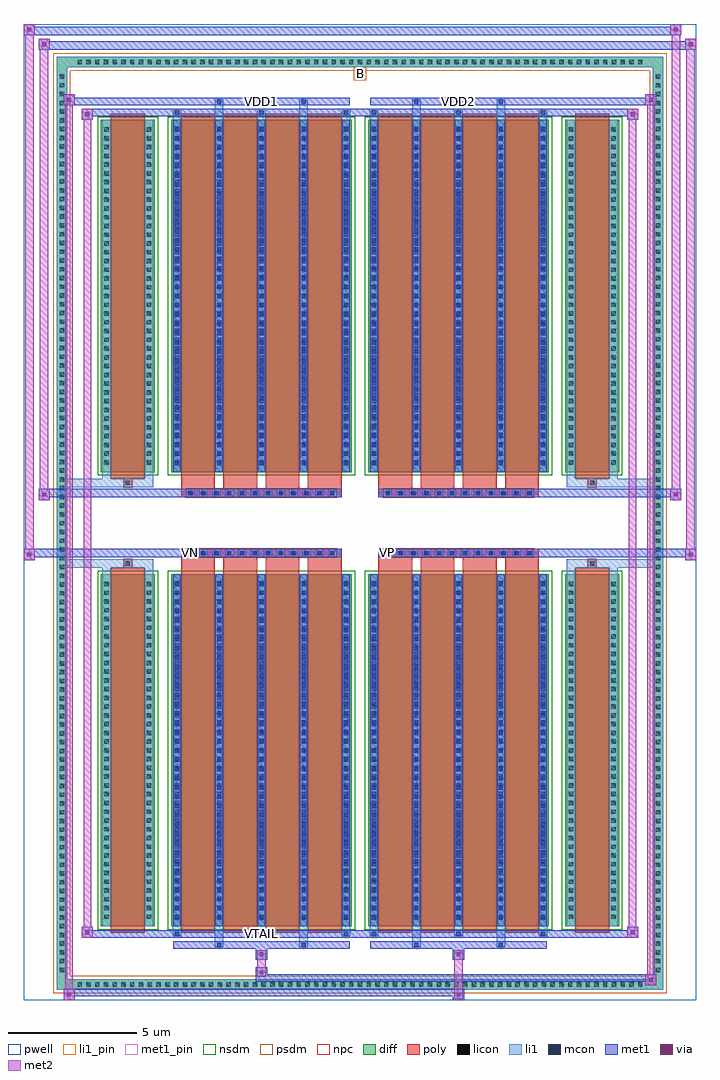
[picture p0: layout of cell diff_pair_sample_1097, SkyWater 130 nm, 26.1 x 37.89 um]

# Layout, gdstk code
import gdstk
lib = gdstk.Library(unit=1e-6, precision=5e-09)
def R(c, l, rs):  # rectangles x0, y0, x1, y1
    for r in rs: c.add(gdstk.rectangle(r[:2], r[2:], *l))
def A(c, l, x, y, w, h, nx, ny, dx, dy):  # array of equal rectangles
    R(c, l, [(x+i*dx, y+j*dy, x+i*dx+w, y+j*dy+h) for i in range(nx) for j in range(ny)])
def P(c, l, *ps):  # polygons
    for p in ps: c.add(gdstk.Polygon(p, *l))
pwell = (64, 44)
diff = (65, 20)
poly = (66, 20)
licon = (66, 44)
li1_pin = (67, 16)
li1 = (67, 20)
mcon = (67, 44)
met1_pin = (68, 16)
met1 = (68, 20)
via = (68, 44)
met2 = (69, 20)
nsdm = (93, 44)
psdm = (94, 20)
npc = (95, 20)

diff_pair_sample_1097 = lib.new_cell('diff_pair_sample_1097')
R(diff_pair_sample_1097, pwell, [(-13.05,-18.51,13.05,19.38), (-10.37,-16.7,-0.01,-0.8), (0.01,-16.7,10.37,-0.8), (-10.37,0.8,-0.01,16.7), (0.01,0.8,10.37,16.7)])
A(diff_pair_sample_1097, diff, -11.085, -18.11, 0.41, 0.41, 65, 2, 0.34, 35.81)
A(diff_pair_sample_1097, diff, -11.78, -17.545, 0.41, 0.41, 1, 103, 0, 0.34)
A(diff_pair_sample_1097, diff, 11.37, -17.545, 0.41, 0.41, 1, 103, 0, 0.34)
R(diff_pair_sample_1097, diff, [(-11.085,-18.11,11.085,-17.7), (-11.78,-17.545,-11.37,17.545), (11.37,-17.545,11.78,17.545), (-10.06,-15.655,-7.97,-1.985), (-7.33,-15.655,-0.32,-1.985), (0.32,-15.655,7.33,-1.985), (7.97,-15.655,10.06,-1.985), (-10.06,1.985,-7.97,15.655), (-7.33,1.985,-0.32,15.655), (0.32,1.985,7.33,15.655), (7.97,1.985,10.06,15.655), (-11.085,17.7,11.085,18.11)])
P(diff_pair_sample_1097, diff, [(11.78,18.11),(-11.78,18.11),(-11.78,-17.7),(-11.37,-17.7),(-11.37,17.7),(11.37,17.7),(11.37,-17.7),(-11.37,-17.7),(-11.78,-17.7),(-11.78,-18.11),(11.78,-18.11)])
A(diff_pair_sample_1097, poly, -6.94, -15.905, 1.31, 14.17, 4, 2, 1.64, 17.64)
A(diff_pair_sample_1097, poly, 0.71, -15.905, 1.31, 14.17, 4, 2, 1.64, 17.64)
A(diff_pair_sample_1097, poly, -6.94, -1.735, 1.31, 0.405, 4, 2, 1.64, 3.065)
A(diff_pair_sample_1097, poly, 0.71, -1.735, 1.31, 0.405, 4, 2, 1.64, 3.065)
A(diff_pair_sample_1097, poly, -6.74, -1.33, 0.33, 0.33, 12, 2, 0.5, 2.33)
A(diff_pair_sample_1097, poly, 0.91, -1.33, 0.33, 0.33, 12, 2, 0.5, 2.33)
R(diff_pair_sample_1097, poly, [(-9.67,-15.905,-8.36,-1.735), (8.36,-15.905,9.67,-1.735), (-9.18,-1.735,-8.85,-1.405), (-9.18,-1.735,-8.85,-1.405), (8.85,-1.735,9.18,-1.405), (8.85,-1.735,9.18,-1.405), (-6.94,-1.33,-0.71,-1), (0.71,-1.33,6.94,-1), (-6.94,1,-0.71,1.33), (0.71,1,6.94,1.33), (-9.18,1.405,-8.85,1.735), (-9.18,1.405,-8.85,1.735), (8.85,1.405,9.18,1.735), (8.85,1.405,9.18,1.735), (-9.67,1.735,-8.36,15.905), (8.36,1.735,9.67,15.905)])
A(diff_pair_sample_1097, licon, -10.965, -17.99, 0.17, 0.17, 65, 2, 0.34, 35.81)
A(diff_pair_sample_1097, licon, -11.66, -17.425, 0.17, 0.17, 1, 103, 0, 0.34)
A(diff_pair_sample_1097, licon, 11.49, -17.425, 0.17, 0.17, 1, 103, 0, 0.34)
A(diff_pair_sample_1097, licon, -9.92, -15.365, 0.17, 0.17, 1, 39, 0, 0.34)
A(diff_pair_sample_1097, licon, -8.28, -15.365, 0.17, 0.17, 1, 39, 0, 0.34)
A(diff_pair_sample_1097, licon, -7.19, -15.365, 0.17, 0.17, 5, 39, 1.64, 0.34)
A(diff_pair_sample_1097, licon, 0.46, -15.365, 0.17, 0.17, 5, 39, 1.64, 0.34)
A(diff_pair_sample_1097, licon, 8.11, -15.365, 0.17, 0.17, 1, 39, 0, 0.34)
A(diff_pair_sample_1097, licon, 9.75, -15.365, 0.17, 0.17, 1, 39, 0, 0.34)
A(diff_pair_sample_1097, licon, -6.66, -1.25, 0.17, 0.17, 12, 2, 0.5, 2.33)
A(diff_pair_sample_1097, licon, 0.99, -1.25, 0.17, 0.17, 12, 2, 0.5, 2.33)
A(diff_pair_sample_1097, licon, -9.92, 2.275, 0.17, 0.17, 1, 39, 0, 0.34)
A(diff_pair_sample_1097, licon, -8.28, 2.275, 0.17, 0.17, 1, 39, 0, 0.34)
A(diff_pair_sample_1097, licon, -7.19, 2.275, 0.17, 0.17, 5, 39, 1.64, 0.34)
A(diff_pair_sample_1097, licon, 0.46, 2.275, 0.17, 0.17, 5, 39, 1.64, 0.34)
A(diff_pair_sample_1097, licon, 8.11, 2.275, 0.17, 0.17, 1, 39, 0, 0.34)
A(diff_pair_sample_1097, licon, 9.75, 2.275, 0.17, 0.17, 1, 39, 0, 0.34)
R(diff_pair_sample_1097, licon, [(-9.1,-1.655,-8.93,-1.485), (8.93,-1.655,9.1,-1.485), (-9.1,1.485,-8.93,1.655), (8.93,1.485,9.1,1.655)])
R(diff_pair_sample_1097, li1_pin, [(-0.25,17.2,0.25,17.7)])
A(diff_pair_sample_1097, li1, -11.045, -18.07, 0.33, 0.33, 65, 2, 0.34, 35.81)
A(diff_pair_sample_1097, li1, -11.74, -17.505, 0.33, 0.33, 1, 103, 0, 0.34)
A(diff_pair_sample_1097, li1, 11.41, -17.505, 0.33, 0.33, 1, 103, 0, 0.34)
A(diff_pair_sample_1097, li1, -7.27, -16.03, 0.33, 0.375, 3, 2, 3.28, 31.685)
A(diff_pair_sample_1097, li1, -7.19, -16.03, 0.17, 0.17, 3, 2, 3.28, 31.89)
A(diff_pair_sample_1097, li1, 0.38, -16.03, 0.33, 0.375, 3, 2, 3.28, 31.685)
A(diff_pair_sample_1097, li1, 0.46, -16.03, 0.17, 0.17, 3, 2, 3.28, 31.89)
A(diff_pair_sample_1097, li1, -7.27, -15.655, 0.33, 13.67, 5, 2, 1.64, 17.64)
A(diff_pair_sample_1097, li1, 0.38, -15.655, 0.33, 13.67, 5, 2, 1.64, 17.64)
A(diff_pair_sample_1097, li1, -10, -15.445, 0.33, 0.33, 1, 39, 0, 0.34)
A(diff_pair_sample_1097, li1, -8.36, -15.445, 0.33, 0.33, 1, 39, 0, 0.34)
A(diff_pair_sample_1097, li1, -7.27, -15.445, 0.33, 0.33, 5, 39, 1.64, 0.34)
A(diff_pair_sample_1097, li1, 0.38, -15.445, 0.33, 0.33, 5, 39, 1.64, 0.34)
A(diff_pair_sample_1097, li1, 8.03, -15.445, 0.33, 0.33, 1, 39, 0, 0.34)
A(diff_pair_sample_1097, li1, 9.67, -15.445, 0.33, 0.33, 1, 39, 0, 0.34)
A(diff_pair_sample_1097, li1, -7.19, -15.385, 0.17, 0.17, 5, 37, 1.64, 0.36)
A(diff_pair_sample_1097, li1, -7.19, -15.385, 0.17, 13.13, 5, 2, 1.64, 17.64)
A(diff_pair_sample_1097, li1, 0.46, -15.385, 0.17, 0.17, 5, 37, 1.64, 0.36)
A(diff_pair_sample_1097, li1, 0.46, -15.385, 0.17, 13.13, 5, 2, 1.64, 17.64)
A(diff_pair_sample_1097, li1, -6.74, -1.33, 0.33, 0.33, 12, 2, 0.5, 2.33)
A(diff_pair_sample_1097, li1, 0.91, -1.33, 0.33, 0.33, 12, 2, 0.5, 2.33)
A(diff_pair_sample_1097, li1, -10, 2.195, 0.33, 0.33, 1, 39, 0, 0.34)
A(diff_pair_sample_1097, li1, -8.36, 2.195, 0.33, 0.33, 1, 39, 0, 0.34)
A(diff_pair_sample_1097, li1, -7.27, 2.195, 0.33, 0.33, 5, 39, 1.64, 0.34)
A(diff_pair_sample_1097, li1, 0.38, 2.195, 0.33, 0.33, 5, 39, 1.64, 0.34)
A(diff_pair_sample_1097, li1, 8.03, 2.195, 0.33, 0.33, 1, 39, 0, 0.34)
A(diff_pair_sample_1097, li1, 9.67, 2.195, 0.33, 0.33, 1, 39, 0, 0.34)
A(diff_pair_sample_1097, li1, -7.19, 2.255, 0.17, 0.17, 5, 37, 1.64, 0.36)
A(diff_pair_sample_1097, li1, 0.46, 2.255, 0.17, 0.17, 5, 37, 1.64, 0.36)
R(diff_pair_sample_1097, li1, [(-11.78,-18.11,-11.37,-17.7), (-11.78,-18.11,-11.37,-17.7), (-11.37,-18.11,11.37,-17.7), (11.37,-18.11,11.78,-17.7), (11.37,-18.11,11.78,-17.7), (-11.78,-17.7,-11.37,17.7), (11.37,-17.7,11.78,17.7), (-5.63,-16.46,-5.3,-15.655), (-5.55,-16.46,-5.38,-16.29), (-2.35,-16.46,-2.02,-15.655), (-2.27,-16.46,-2.1,-16.29), (2.02,-16.46,2.35,-15.655), (2.1,-16.46,2.27,-16.29), (5.3,-16.46,5.63,-15.655), (5.38,-16.46,5.55,-16.29), (-10,-15.655,-9.67,-1.985), (-8.36,-15.655,-8.03,-1.985), (8.03,-15.655,8.36,-1.985), (9.67,-15.655,10,-1.985), (-10,-1.985,-9.67,-1.405), (-8.36,-1.985,-8.03,-1.405), (8.03,-1.985,8.36,-1.405), (9.67,-1.985,10,-1.405), (-11.78,-1.735,-9.18,-1.405), (-10,-1.735,-9.18,-1.405), (-9.18,-1.735,-8.85,-1.405), (-8.85,-1.735,-8.03,-1.405), (8.03,-1.735,8.85,-1.405), (8.85,-1.735,9.18,-1.405), (8.85,-1.735,11.78,-1.405), (9.18,-1.735,10,-1.405), (-11.78,1.405,-9.18,1.735), (-10,1.405,-9.18,1.735), (-10,1.405,-9.67,1.985), (-9.18,1.405,-8.85,1.735), (-8.85,1.405,-8.03,1.735), (-8.36,1.405,-8.03,1.985), (8.03,1.405,8.85,1.735), (8.03,1.405,8.36,1.985), (8.85,1.405,9.18,1.735), (8.85,1.405,11.78,1.735), (9.18,1.405,10,1.735), (9.67,1.405,10,1.985), (-10,1.985,-9.67,15.655), (-8.36,1.985,-8.03,15.655), (8.03,1.985,8.36,15.655), (9.67,1.985,10,15.655), (-5.63,15.655,-5.3,16.46), (-2.35,15.655,-2.02,16.46), (2.02,15.655,2.35,16.46), (5.3,15.655,5.63,16.46), (-5.55,16.29,-5.38,16.46), (-2.27,16.29,-2.1,16.46), (2.1,16.29,2.27,16.46), (5.38,16.29,5.55,16.46), (-11.78,17.7,-11.37,18.11), (-11.78,17.7,-11.37,18.11), (-11.37,17.7,11.37,18.11), (11.37,17.7,11.78,18.11), (11.37,17.7,11.78,18.11)])
A(diff_pair_sample_1097, mcon, -7.19, -16.03, 0.17, 0.17, 3, 2, 3.28, 31.89)
A(diff_pair_sample_1097, mcon, 0.46, -16.03, 0.17, 0.17, 3, 2, 3.28, 31.89)
A(diff_pair_sample_1097, mcon, -7.19, -15.385, 0.17, 0.17, 5, 37, 1.64, 0.36)
A(diff_pair_sample_1097, mcon, 0.46, -15.385, 0.17, 0.17, 5, 37, 1.64, 0.36)
A(diff_pair_sample_1097, mcon, -6.66, -1.25, 0.17, 0.17, 12, 2, 0.5, 2.33)
A(diff_pair_sample_1097, mcon, 0.99, -1.25, 0.17, 0.17, 12, 2, 0.5, 2.33)
A(diff_pair_sample_1097, mcon, -7.19, 2.255, 0.17, 0.17, 5, 37, 1.64, 0.36)
A(diff_pair_sample_1097, mcon, 0.46, 2.255, 0.17, 0.17, 5, 37, 1.64, 0.36)
R(diff_pair_sample_1097, mcon, [(-5.55,-16.46,-5.38,-16.29), (-2.27,-16.46,-2.1,-16.29), (2.1,-16.46,2.27,-16.29), (5.38,-16.46,5.55,-16.29), (-5.55,16.29,-5.38,16.46), (-2.27,16.29,-2.1,16.46), (2.1,16.29,2.27,16.46), (5.38,16.29,5.55,16.46)])
R(diff_pair_sample_1097, met1_pin, [(-3.96,-16.07,-3.69,-15.8), (-6.71,-1.29,-6.44,-1.02), (0.94,-1.29,1.21,-1.02), (-3.96,16.25,-3.69,16.52), (3.69,16.25,3.96,16.52)])
A(diff_pair_sample_1097, met1, -7.25, -16.09, 0.29, 0.29, 3, 2, 3.28, 31.89)
A(diff_pair_sample_1097, met1, 0.4, -16.09, 0.29, 0.29, 3, 2, 3.28, 31.89)
A(diff_pair_sample_1097, met1, -7.25, -15.655, 0.29, 13.67, 5, 2, 1.64, 17.64)
A(diff_pair_sample_1097, met1, 0.4, -15.655, 0.29, 13.67, 5, 2, 1.64, 17.64)
A(diff_pair_sample_1097, met1, -7.25, -15.445, 0.29, 0.29, 5, 37, 1.64, 0.36)
A(diff_pair_sample_1097, met1, 0.4, -15.445, 0.29, 0.29, 5, 37, 1.64, 0.36)
A(diff_pair_sample_1097, met1, -6.72, -1.31, 0.29, 0.29, 12, 2, 0.5, 2.33)
A(diff_pair_sample_1097, met1, 0.93, -1.31, 0.29, 0.29, 12, 2, 0.5, 2.33)
A(diff_pair_sample_1097, met1, -7.25, 2.195, 0.29, 0.29, 5, 37, 1.64, 0.36)
A(diff_pair_sample_1097, met1, 0.4, 2.195, 0.29, 0.29, 5, 37, 1.64, 0.36)
R(diff_pair_sample_1097, met1, [(-11.51,-18.51,-11.08,-18.08), (3.61,-18.51,4.04,-18.08), (-11.51,-18.37,4.04,-18.08), (11.08,-17.94,11.51,-17.51), (-4.04,-17.8,11.51,-17.51), (-4.04,-17.66,-3.61,-17.23), (-4.04,-16.95,-3.61,-16.52), (3.61,-16.95,4.04,-16.52), (-7.25,-16.52,-0.4,-16.23), (-5.61,-16.52,-5.32,-16.23), (-2.33,-16.52,-2.04,-16.23), (0.4,-16.52,7.25,-16.23), (2.04,-16.52,2.33,-16.23), (5.32,-16.52,5.61,-16.23), (-10.8,-16.09,-10.37,-15.66), (-10.8,-16.09,-7.25,-15.8), (-7.25,-16.09,-0.4,-15.8), (-0.4,-16.09,0.4,-15.8), (0.4,-16.09,7.25,-15.8), (7.25,-16.09,10.8,-15.8), (10.37,-16.09,10.8,-15.66), (-13.05,-1.43,-12.62,-1), (12.62,-1.43,13.05,-1), (-13.05,-1.33,-0.71,-1), (-6.94,-1.33,-0.71,-1), (0.71,-1.33,6.94,-1), (0.71,-1.33,13.05,-1), (-12.48,0.9,-12.05,1.33), (12.05,0.9,12.48,1.33), (-12.48,1,-6.94,1.33), (-6.94,1,-0.71,1.33), (0.71,1,6.94,1.33), (6.94,1,12.48,1.33), (-10.8,15.66,-10.37,16.09), (10.37,15.66,10.8,16.09), (-10.8,15.8,-7.25,16.09), (-7.25,15.8,-0.4,16.09), (-0.4,15.8,0.4,16.09), (0.4,15.8,7.25,16.09), (7.25,15.8,10.8,16.09), (-11.51,16.23,-11.08,16.66), (-11.51,16.23,-7.25,16.52), (-7.25,16.23,-0.4,16.52), (-5.61,16.23,-5.32,16.52), (-2.33,16.23,-2.04,16.52), (0.4,16.23,7.25,16.52), (2.04,16.23,2.33,16.52), (5.32,16.23,5.61,16.52), (7.25,16.23,11.51,16.52), (11.08,16.23,11.51,16.66), (-12.48,18.38,-12.05,18.81), (-12.48,18.38,-10.37,18.71), (-10.37,18.38,10.37,18.71), (10.37,18.38,13.05,18.71), (12.62,18.38,13.05,18.81), (-13.05,18.95,-12.62,19.38), (-13.05,18.95,-10.37,19.28), (-10.37,18.95,10.37,19.28), (10.37,18.95,12.48,19.28), (12.05,18.95,12.48,19.38)])
R(diff_pair_sample_1097, via, [(-11.37,-18.37,-11.22,-18.22), (3.75,-18.37,3.9,-18.22), (11.22,-17.8,11.37,-17.65), (-3.9,-17.52,-3.75,-17.37), (-3.9,-16.81,-3.75,-16.66), (3.75,-16.81,3.9,-16.66), (-10.66,-15.95,-10.51,-15.8), (10.51,-15.95,10.66,-15.8), (-12.91,-1.29,-12.76,-1.14), (12.76,-1.29,12.91,-1.14), (-12.34,1.04,-12.19,1.19), (12.19,1.04,12.34,1.19), (-10.66,15.8,-10.51,15.95), (10.51,15.8,10.66,15.95), (-11.37,16.37,-11.22,16.52), (11.22,16.37,11.37,16.52), (-12.34,18.52,-12.19,18.67), (12.76,18.52,12.91,18.67), (-12.91,19.09,-12.76,19.24), (12.19,19.09,12.34,19.24)])
R(diff_pair_sample_1097, met2, [(-11.51,-18.51,-11.08,-18.08), (-11.44,-18.51,-11.15,16.66), (-11.15,-18.51,-11.08,-18.08), (-11.46,-18.46,-11.13,-18.13), (3.66,-18.46,3.99,-18.13), (3.66,-18.13,3.99,-16.9), (11.08,-17.94,11.51,-17.51), (11.15,-17.94,11.44,16.66), (11.44,-17.94,11.51,-17.51), (11.13,-17.89,11.46,-17.56), (-3.99,-17.61,-3.66,-17.28), (-3.99,-17.28,-3.66,-16.9), (-3.99,-16.9,-3.66,-16.57), (3.66,-16.9,3.99,-16.57), (-10.8,-16.09,-10.37,-15.66), (-10.73,-16.09,-10.44,16.09), (-10.44,-16.09,-10.37,-15.66), (10.37,-16.09,10.8,-15.66), (10.44,-16.09,10.73,16.09), (10.73,-16.09,10.8,-15.66), (-10.75,-16.04,-10.42,-15.71), (10.42,-16.04,10.75,-15.71), (-13.05,-1.43,-12.62,-1), (-13,-1.43,-12.67,19.38), (-12.67,-1.43,-12.62,-1), (12.62,-1.43,13.05,-1), (12.67,-1.43,13,18.81), (13,-1.43,13.05,-1), (-13,-1.38,-12.67,-1.05), (12.67,-1.38,13,-1.05), (-12.48,0.9,-12.05,1.33), (-12.43,0.9,-12.1,18.81), (-12.1,0.9,-12.05,1.33), (12.05,0.9,12.48,1.33), (12.1,0.9,12.43,19.38), (12.43,0.9,12.48,1.33), (-12.43,0.95,-12.1,1.28), (12.1,0.95,12.43,1.28), (-10.8,15.66,-10.37,16.09), (-10.44,15.66,-10.37,16.09), (10.37,15.66,10.8,16.09), (10.73,15.66,10.8,16.09), (-10.75,15.71,-10.42,16.04), (10.42,15.71,10.75,16.04), (-11.51,16.23,-11.08,16.66), (-11.15,16.23,-11.08,16.66), (11.08,16.23,11.51,16.66), (11.44,16.23,11.51,16.66), (-11.46,16.28,-11.13,16.61), (11.13,16.28,11.46,16.61), (-12.48,18.38,-12.05,18.81), (-12.1,18.38,-12.05,18.81), (12.62,18.38,13.05,18.81), (13,18.38,13.05,18.81), (-12.43,18.43,-12.1,18.76), (12.67,18.43,13,18.76), (-13.05,18.95,-12.62,19.38), (-12.67,18.95,-12.62,19.38), (12.05,18.95,12.48,19.38), (12.43,18.95,12.48,19.38), (-13,19,-12.67,19.33), (12.1,19,12.43,19.33)])
R(diff_pair_sample_1097, nsdm, [(-10.19,-15.785,-7.84,-1.855), (-7.46,-15.785,-0.19,-1.855), (0.19,-15.785,7.46,-1.855), (7.84,-15.785,10.19,-1.855), (-10.19,1.855,-7.84,15.785), (-7.46,1.855,-0.19,15.785), (0.19,1.855,7.46,15.785), (7.84,1.855,10.19,15.785)])
P(diff_pair_sample_1097, psdm, [(11.91,18.24),(-11.91,18.24),(-11.91,-17.57),(-11.24,-17.57),(-11.24,17.57),(11.24,17.57),(11.24,-17.57),(-11.24,-17.57),(-11.91,-17.57),(-11.91,-18.24),(11.91,-18.24)])
A(diff_pair_sample_1097, npc, -6.76, -1.35, 0.37, 0.37, 12, 2, 0.5, 2.33)
A(diff_pair_sample_1097, npc, 0.89, -1.35, 0.37, 0.37, 12, 2, 0.5, 2.33)
R(diff_pair_sample_1097, npc, [(-9.2,-1.755,-8.83,-1.385), (8.83,-1.755,9.2,-1.385), (-6.76,-1.35,-5.89,-0.98), (-6.76,-1.35,-5.89,-0.98), (-6.26,-1.35,-5.39,-0.98), (-6.26,-1.35,-5.39,-0.98), (-5.76,-1.35,-4.89,-0.98), (-5.76,-1.35,-4.89,-0.98), (-5.26,-1.35,-4.39,-0.98), (-5.26,-1.35,-4.39,-0.98), (-4.76,-1.35,-3.89,-0.98), (-4.76,-1.35,-3.89,-0.98), (-4.26,-1.35,-3.39,-0.98), (-4.26,-1.35,-3.39,-0.98), (-3.76,-1.35,-2.89,-0.98), (-3.76,-1.35,-2.89,-0.98), (-3.26,-1.35,-2.39,-0.98), (-3.26,-1.35,-2.39,-0.98), (-2.76,-1.35,-1.89,-0.98), (-2.76,-1.35,-1.89,-0.98), (-2.26,-1.35,-1.39,-0.98), (-2.26,-1.35,-1.39,-0.98), (-1.76,-1.35,-0.89,-0.98), (-1.76,-1.35,-0.89,-0.98), (0.89,-1.35,1.76,-0.98), (0.89,-1.35,1.76,-0.98), (1.39,-1.35,2.26,-0.98), (1.39,-1.35,2.26,-0.98), (1.89,-1.35,2.76,-0.98), (1.89,-1.35,2.76,-0.98), (2.39,-1.35,3.26,-0.98), (2.39,-1.35,3.26,-0.98), (2.89,-1.35,3.76,-0.98), (2.89,-1.35,3.76,-0.98), (3.39,-1.35,4.26,-0.98), (3.39,-1.35,4.26,-0.98), (3.89,-1.35,4.76,-0.98), (3.89,-1.35,4.76,-0.98), (4.39,-1.35,5.26,-0.98), (4.39,-1.35,5.26,-0.98), (4.89,-1.35,5.76,-0.98), (4.89,-1.35,5.76,-0.98), (5.39,-1.35,6.26,-0.98), (5.39,-1.35,6.26,-0.98), (5.89,-1.35,6.76,-0.98), (5.89,-1.35,6.76,-0.98), (-6.76,0.98,-5.89,1.35), (-6.76,0.98,-5.89,1.35), (-6.26,0.98,-5.39,1.35), (-6.26,0.98,-5.39,1.35), (-5.76,0.98,-4.89,1.35), (-5.76,0.98,-4.89,1.35), (-5.26,0.98,-4.39,1.35), (-5.26,0.98,-4.39,1.35), (-4.76,0.98,-3.89,1.35), (-4.76,0.98,-3.89,1.35), (-4.26,0.98,-3.39,1.35), (-4.26,0.98,-3.39,1.35), (-3.76,0.98,-2.89,1.35), (-3.76,0.98,-2.89,1.35), (-3.26,0.98,-2.39,1.35), (-3.26,0.98,-2.39,1.35), (-2.76,0.98,-1.89,1.35), (-2.76,0.98,-1.89,1.35), (-2.26,0.98,-1.39,1.35), (-2.26,0.98,-1.39,1.35), (-1.76,0.98,-0.89,1.35), (-1.76,0.98,-0.89,1.35), (0.89,0.98,1.76,1.35), (0.89,0.98,1.76,1.35), (1.39,0.98,2.26,1.35), (1.39,0.98,2.26,1.35), (1.89,0.98,2.76,1.35), (1.89,0.98,2.76,1.35), (2.39,0.98,3.26,1.35), (2.39,0.98,3.26,1.35), (2.89,0.98,3.76,1.35), (2.89,0.98,3.76,1.35), (3.39,0.98,4.26,1.35), (3.39,0.98,4.26,1.35), (3.89,0.98,4.76,1.35), (3.89,0.98,4.76,1.35), (4.39,0.98,5.26,1.35), (4.39,0.98,5.26,1.35), (4.89,0.98,5.76,1.35), (4.89,0.98,5.76,1.35), (5.39,0.98,6.26,1.35), (5.39,0.98,6.26,1.35), (5.89,0.98,6.76,1.35), (5.89,0.98,6.76,1.35), (-9.2,1.385,-8.83,1.755), (8.83,1.385,9.2,1.755)])
diff_pair_sample_1097.add(gdstk.Label('VTAIL', (-3.825,-15.935), layer=68, texttype=5))
diff_pair_sample_1097.add(gdstk.Label('VN', (-6.575,-1.155), layer=68, texttype=5))
diff_pair_sample_1097.add(gdstk.Label('VP', (1.075,-1.155), layer=68, texttype=5))
diff_pair_sample_1097.add(gdstk.Label('B', (0,17.45), layer=67, texttype=5))
diff_pair_sample_1097.add(gdstk.Label('VDD2', (3.825,16.385), layer=68, texttype=5))
diff_pair_sample_1097.add(gdstk.Label('VDD1', (-3.825,16.385), layer=68, texttype=5))

lib.write_gds('diff_pair_sample_1097.gds')
